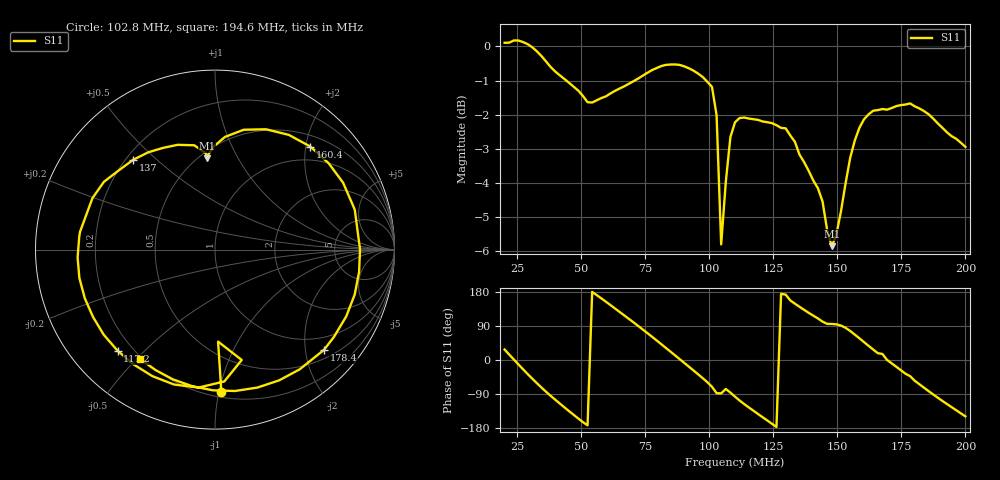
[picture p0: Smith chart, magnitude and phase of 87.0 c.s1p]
# HZ S RI R 50
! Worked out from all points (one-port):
!   101 points, 20 MHz to 200 MHz, reference 50 ohm
!   lowest |S11| = -5.9 dB at 147.8 MHz (marker M1), VSWR 3.08, Z = 27.4 + j37.6 ohm
!   |S11| at or under -10 dB: nowhere
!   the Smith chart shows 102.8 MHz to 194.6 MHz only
!   S11 on the Smith chart (normalised r, x): 102.8 MHz: 0.24, -1.02; 117.2 MHz: 0.14, -0.42; 137 MHz: 0.23, +0.42; 160.4 MHz: 0.71, +2.09; 178.4 MHz: 0.69, -2.40; 194.6 MHz: 0.19, -0.51
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2e7  0.8969 0.4698
2.54e7  0.9991 -0.2068
3.26e7  0.4751 -0.8614
3.8e7  -0.0746 -0.9299
4.34e7  -0.5164 -0.732
4.88e7  -0.7779 -0.37
5.42e7  -0.8277 0.00453
6.5e7  -0.5156 0.6983
7.58e7  0.3005 0.8642
8.3e7  0.7983 0.4958
8.84e7  0.939 0.0358
9.56e7  0.7213 -0.5587
1.028e8  0.0354 -0.7926
1.046e8  0.0171 -0.5126
1.064e8  0.1489 -0.6149
1.1e8  -0.0918 -0.7687
1.172e8  -0.5419 -0.5642
1.262e8  -0.7655 -0.0436
1.334e8  -0.6187 0.3779
1.37e8  -0.4559 0.5004
1.478e8  -0.0453 0.5078
1.55e8  0.1602 0.6679
1.604e8  0.5315 0.5738
1.694e8  0.808 0.00129
1.784e8  0.6077 -0.5583
1.856e8  0.1119 -0.7878
1.946e8  -0.4166 -0.6102
2e8  -0.6091 -0.3702
